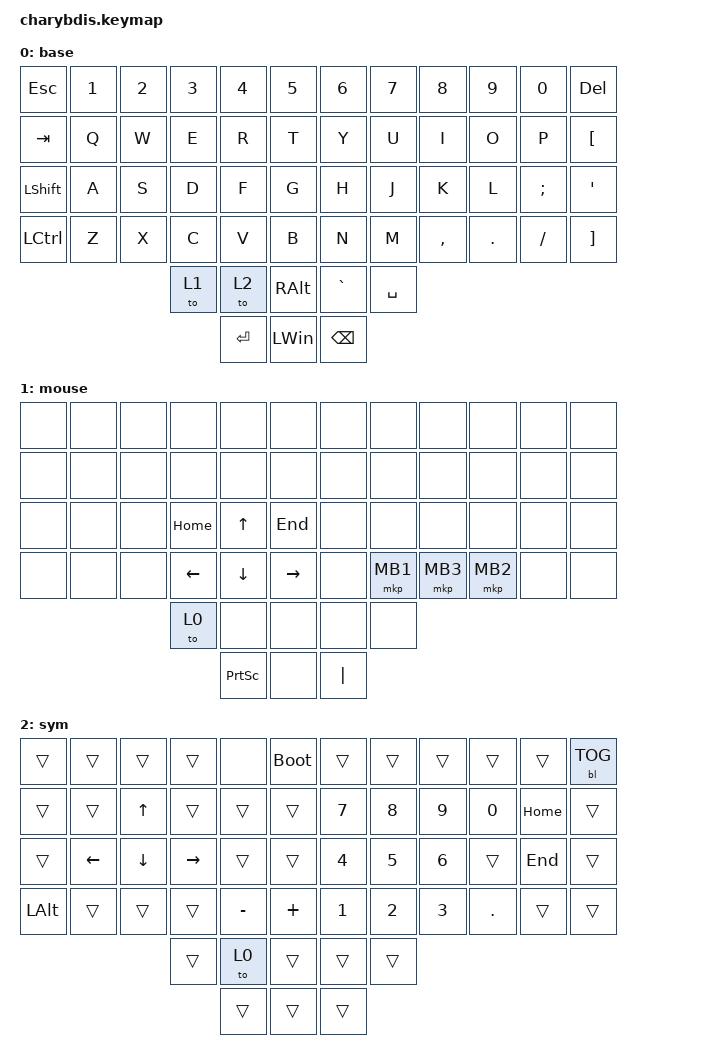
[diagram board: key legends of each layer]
#include <dt-bindings/zmk/mouse.h>
#include <behaviors.dtsi>
#include <dt-bindings/zmk/backlight.h>
#include <dt-bindings/zmk/keys.h>
#include <dt-bindings/zmk/pointing.h>

&lt {
    tapping-term-ms = <200>;
    flavor = "balanced";
    quick-tap-ms = <150>;
};

/ {
    keymap {
        compatible = "zmk,keymap";

        base {
            bindings = <
&kp ESC         &kp N1  &kp N2  &kp N3  &kp N4     &kp N5           &kp N6         &kp N7     &kp N8     &kp N9   &kp N0    &kp DELETE
&kp TAB         &kp Q   &kp W   &kp E   &kp R      &kp T            &kp Y          &kp U      &kp I      &kp O    &kp P     &kp LEFT_BRACKET
&kp LEFT_SHIFT  &kp A   &kp S   &kp D   &kp F      &kp G            &kp H          &kp J      &kp K      &kp L    &kp SEMI  &kp SQT
&kp LCTRL       &kp Z   &kp X   &kp C   &kp V      &kp B            &kp N          &kp M      &kp COMMA  &kp DOT  &kp FSLH  &kp RIGHT_BRACKET
                                &to 1   &to 2      &kp RIGHT_ALT    &kp GRAVE      &kp SPACE
                                        &kp ENTER  &kp LEFT_WIN     &kp BACKSPACE
            >;

            trackball-bindings = <&tmv_coarse>;
        };

        mouse {
            bindings = <
&none  &none  &none  &none     &none            &none        &none     &none     &none     &none     &none  &none
&none  &none  &none  &none     &none            &none        &none     &none     &none     &none     &none  &none
&none  &none  &none  &kp HOME  &kp UP_ARROW     &kp END      &none     &none     &none     &none     &none  &none
&none  &none  &none  &kp LEFT  &kp DOWN_ARROW   &kp RIGHT    &none     &mkp MB1  &mkp MB3  &mkp MB2  &none  &none
                     &to 0     &none            &none        &none     &none
                               &kp PRINTSCREEN  &none        &kp PIPE
            >;

            trackball-bindings = <&tsl>;
        };

        sym {
            bindings = <
&trans        &trans    &trans          &trans           &none      &bootloader    &trans        &trans        &trans        &trans        &trans    &bl BL_TOG
&trans        &trans    &kp UP_ARROW    &trans           &trans     &trans         &kp N7        &kp N8        &kp NUMBER_9  &kp NUMBER_0  &kp HOME  &trans
&trans        &kp LEFT  &kp DOWN_ARROW  &kp RIGHT_ARROW  &trans     &trans         &kp NUMBER_4  &kp N5        &kp NUMBER_6  &trans        &kp END   &trans
&kp LEFT_ALT  &trans    &trans          &trans           &kp MINUS  &kp PLUS       &kp NUMBER_1  &kp NUMBER_2  &kp NUMBER_3  &kp DOT       &trans    &trans
                                        &trans           &to 0      &trans         &trans        &trans
                                                         &trans     &trans         &trans
            >;
        };

        /* layer_2 {
            bindings = <
&none  &none   &none    &none   &none         &none         &kp N1         &none         &none     &none  &none   &to 0
&none  &none   &none    &none   &none         &none         &none         &none          &rgb_ug RGB_BRD &rgb_ug RGB_BRI  &rgb_ug RGB_EFF   &rgb_ug RGB_TOG
&none  &none   &none    &none   &none         &none         &none         &mkp LCLK     &mkp RCLK  &none  &none   &none
&none  &none   &none    &none   &bt BT_NXT  &bt BT_CLR    &none         &none         &none     &none  &none   &none
                                   &none         &none         &none         &none         &none
                                                 &none         &none         &none
            >;
          trackball-bindings = <&tsl>;
            
        };

       Mouse {
            bindings = <
&none        &none         &none         &none         &none      &none         &none       &none      &none         &none         &none         &none
&none        &bt BT_SEL 0  &bt BT_SEL 1  &bt BT_SEL 3  &none      &bt BT_CLR    &bt BT_CLR  &none      &bt BT_SEL 2  &bt BT_SEL 1  &bt BT_SEL 0  &none
&none        &trans        &trans        &mkp MCLK     &trans     &none         &none       &trans     &mkp MCLK     &trans        &trans        &none
&bootloader  &trans        &mkp RCLK     &mo 4         &mkp LCLK  &mo 5         &mo 5       &mkp LCLK  &mo 4         &mkp RCLK     &trans        &bootloader
                                         &mo 5         &mkp LCLK  &mkp RCLK     &mkp RCLK   &mkp LCLK
                                                       &none      &trans        &trans
            >;

            
        };

        layer_4 {
            bindings = <
&trans  &trans  &trans     &trans     &trans     &trans       &trans     &trans     &trans     &trans     &trans  &trans
&trans  &trans  &trans     &trans     &trans     &trans       &trans     &trans     &trans     &trans     &trans  &trans
&trans  &trans  &trans     &mkp MCLK  &trans     &trans       &trans     &trans     &mkp MCLK  &trans     &trans  &trans
&trans  &trans  &mkp RCLK  &trans     &mkp LCLK  &trans       &trans     &mkp LCLK  &trans     &mkp RCLK  &trans  &trans
                           &trans     &mkp LCLK  &mkp RCLK    &mkp RCLK  &mkp LCLK
                                      &trans     &trans       &trans
            >;
                
                
                trackball-bindings = <&tsl>;
        };

        layer_5 {
            bindings = <
&trans  &trans  &trans     &trans     &trans     &trans       &trans     &trans     &trans     &trans     &trans  &trans
&trans  &trans  &trans     &trans     &trans     &trans       &trans     &trans     &trans     &trans     &trans  &trans
&trans  &trans  &trans     &mkp MCLK  &trans     &trans       &trans     &trans     &mkp MCLK  &trans     &trans  &trans
&trans  &trans  &mkp RCLK  &trans     &mkp LCLK  &trans       &trans     &mkp LCLK  &trans     &mkp RCLK  &trans  &trans
                           &trans     &mkp LCLK  &mkp RCLK    &mkp RCLK  &mkp LCLK
                                      &trans     &trans       &trans
            >;
                trackball-bindings = <&tmv_fine>;
                
        };*/
    };
};
